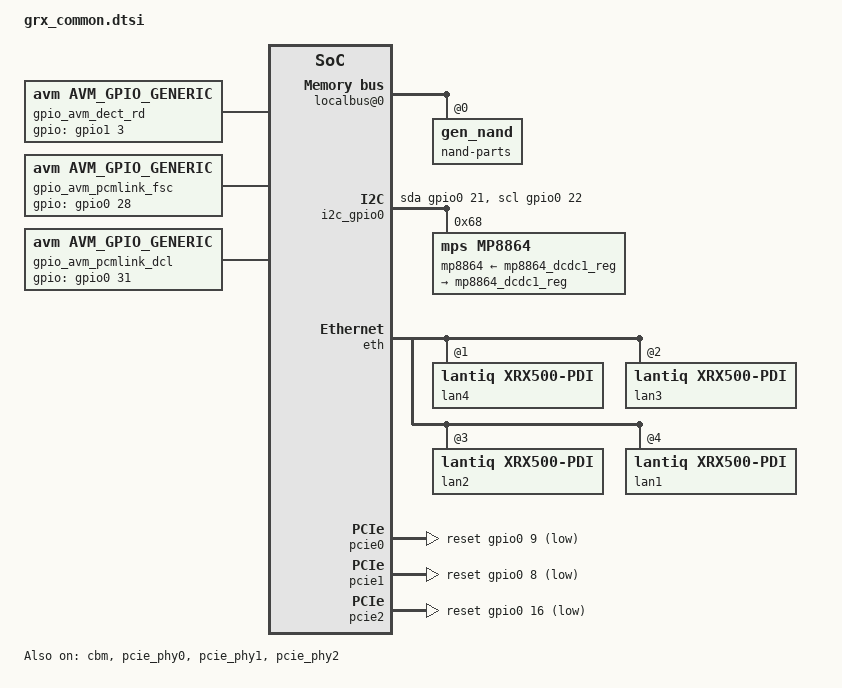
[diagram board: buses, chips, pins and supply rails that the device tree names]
/*****************************************************************
** Include a chip configuration file
*****************************************************************/
#include "../xrx500.dtsi"

#include "include/dt-bindings/gpio/gpio.h"
#include "../../../../include/linux/avm_hw_config_def.h"  /* DTC_EXTRA_INCLUDE_PATH not working */

/ {
	aliases {
		lan1 = &lan1;
		lan2 = &lan2;
		lan3 = &lan3;
		lan4 = &lan4;
	};

	reserved-memory {
		#address-cells = <1>;
		#size-cells = <1>;
		ranges;

		cpunet_mempool: cpunet-mempool@2dfc0000 {
			reg = <0x2dfc0000 0x00040000>;
		};

		ramoops@20500000 {
			compatible = "ramoops";
			reg = <0x20100000 0x00400000>;
			record-size = <0x80000>;
			unbuffered;
			no-dump-oops;
		};
	};


	ssx0@1E000000 {
		cpunet {
			compatible = "avm,cpunet";
			reg = <0x1107400 0x400>;
			mailbox-rx = <&mps2mbx 0x0 0x100>;
			mailbox-tx = <&mps2mbx 0x100 0x100>;
			mempool-rx = <&cpunet_mempool 0x0 0x20000>;
			mempool-tx = <&cpunet_mempool 0x20000 0x20000>;
			interrupt-parent = <&gic>;
			// MPS2_IR0
			interrupts = <GIC_SHARED 215 IRQ_TYPE_LEVEL_HIGH>;
		};

		eip123@0 {
			compatible = "verimatrix,eip123";
			reg = <0x0 0xfffff>;
			intel,syscon = <&sysconf>;
			interrupts =
				<GIC_SHARED 114 IRQ_TYPE_EDGE_RISING>,
				<GIC_SHARED 115 IRQ_TYPE_EDGE_RISING>,
				<GIC_SHARED 116 IRQ_TYPE_EDGE_RISING>,
				<GIC_SHARED 117 IRQ_TYPE_EDGE_RISING>;
		};

		eip97@100000 {
			compatible = "lantiq,crypto-xrx500";
			reg = <0x100000 0x100000>;
			interrupt-parent = <&gic>;
			interrupts = <GIC_SHARED 90 IRQ_TYPE_LEVEL_HIGH>,
				<GIC_SHARED 91 IRQ_TYPE_LEVEL_HIGH>,
				<GIC_SHARED 92 IRQ_TYPE_LEVEL_HIGH>,
				<GIC_SHARED 93 IRQ_TYPE_LEVEL_HIGH>,
				<GIC_SHARED 89 IRQ_TYPE_LEVEL_HIGH>;
			clocks = <&clkgate1 GATE_EIP97_CLK>;
			clock-names = "cryp";
		};
	};

	ssx4@16000000 {
		localbus@0 {
			ranges = <0 0 0x1c00000 0xfffff>;
			nand-parts {
				compatible = "gen_nand","lantiq,nand-xway";
				lantiq,cs = <1>;
				bank-width = <2>;
				reg = <0 0x0 0x100000>;
				#address-cells = <1>;
				#size-cells = <1>;
				nand-ecc-mode = "on-die";

				/* Do NOT remove or rename the node nand-parts. The bootload will search this node and enter the mtd information */
				/*
				mtd_dummy {
				label = "mtd_dummy";
				reg = <0x0 0x1000>;
				};
				 */
			};
		};
	};
};

/*
&pinctrl_nand {
	status = "ok";
};
*/

/******************************************************************************
** Board configuration: Configure LAN/WAN interfaces
******************************************************************************/
&eth {
	status = "ok";

	lan4: interface@1 {
		compatible = "lantiq,xrx500-pdi";
		#address-cells = <1>;
		#size-cells = <0>;
		reg = <1>;
		intel,dp-dev-port = <2>;
		intel,dp-port-id = <2>;

		avm,name = "eth3";
		avm,macname = "maca";
		avm,eee-adv = <0x28>; /* (ADVERTISED_100baseT_Full|ADVERTISED_1000baseT_Full) */

		ethernet@1 {
			compatible = "lantiq,xrx500-pdi-port";
			reg = <2>;
			interrupt-parent = <&gic>;
			interrupts = <GIC_SHARED 112 IRQ_TYPE_LEVEL_HIGH>;
			phy-mode = "rgmii";
			phy-handle = <&phy2>;
		};
	};

	lan3: interface@2 {
		compatible = "lantiq,xrx500-pdi";
		#address-cells = <1>;
		#size-cells = <0>;
		reg = <2>;
		intel,dp-dev-port = <3>;
		intel,dp-port-id = <3>;

		avm,name = "eth2";
		avm,macname = "maca";
		avm,eee-adv = <0x28>; /* (ADVERTISED_100baseT_Full|ADVERTISED_1000baseT_Full) */

		ethernet@2 {
			compatible = "lantiq,xrx500-pdi-port";
			reg = <3>;
			interrupt-parent = <&gic>;
			interrupts = <GIC_SHARED 113 IRQ_TYPE_LEVEL_HIGH>;
			phy-mode = "rgmii";
			phy-handle = <&phy3>;
		};
	};

	lan2: interface@3 {
		compatible = "lantiq,xrx500-pdi";
		#address-cells = <1>;
		#size-cells = <0>;
		reg = <3>;
		intel,dp-dev-port = <4>;
		intel,dp-port-id = <4>;

		avm,name = "eth1";
		avm,macname = "maca";
		avm,eee-adv = <0x28>; /* (ADVERTISED_100baseT_Full|ADVERTISED_1000baseT_Full) */

		ethernet@3 {
			compatible = "lantiq,xrx500-pdi-port";
			reg = <4>;
			interrupt-parent = <&gic>;
			interrupts = <GIC_SHARED 126 IRQ_TYPE_LEVEL_HIGH>;
			phy-mode = "rgmii";
			phy-handle = <&phy4>;
		};
	};

	lan1: interface@4 {
		compatible = "lantiq,xrx500-pdi";
		#address-cells = <1>;
		#size-cells = <0>;
		reg = <4>;
		intel,dp-dev-port = <5>;
		intel,dp-port-id = <5>;

		avm,name = "eth0";
		avm,macname = "maca";
		avm,eee-adv = <0x28>; /* (ADVERTISED_100baseT_Full|ADVERTISED_1000baseT_Full) */

		ethernet@4 {
			compatible = "lantiq,xrx500-pdi-port";
			reg = <5>;
			interrupt-parent = <&gic>;
			interrupts = <GIC_SHARED 127 IRQ_TYPE_LEVEL_HIGH>;
			phy-mode = "rgmii";
			phy-handle = <&phy5>;
		};
	};
};

/{
       avm_netdev_map: avm_netdev_map {
               compatible = "avm,port_netdev";
               lan1 {
                       netdev = "eth0";
               };
               lan2 {
                       netdev = "eth1";
               };
               lan3 {
                       netdev = "eth2";
               };
               lan4 {
                       netdev = "eth3";
               };
       };
};

/******************************************************************************
** Model configuration: CBM sub-system feature configuration, the cbm node is
** defined in Soc level.
** <Port> <Queue> <DMA_Ctrl> <DMA_chnl> <EN/DIS/TYPE> <number of desc>
** <DIS 0> <EN 1> <TYPE DP_F_DEQ_CPU 0x2> <TYPE DP_F_DEQ_CPU1 0x3>
** <TYPE DP_F_DEQ_MPE 0x4>
******************************************************************************/
&cbm {
	status = "ok";

	port1: ltq_dqm_ports {
		DQ0 {
			/* IRQ 186 "cbm_dqm4 */
			lantiq,cbm-config = <0 33 255 255 9 1>;
		};
		DQ1 {
			/* IRQ 187 "cbm_dqm5 */
			lantiq,cbm-config = <1 34 255 255 8 1>;
		};
		DQ2 {
			/* IRQ 188 "cbm_dqm6 */
			lantiq,cbm-config = <2 35 255 255 7 1>;
		};
		DQ3 {
			/* IRQ 189 "cbm_dqm7 */
			lantiq,cbm-config = <3 36 255 255 6 1>;
		};
		DQ4 {
			lantiq,cbm-config = <4 32 255 255 1 2>;
		};
		DQ5 {
			lantiq,cbm-config = <5 37 255 255 1 2>;
		};
		DQ6 {
			lantiq,cbm-config = <6 16 2 1 1 2>;
		};
		DQ7 {
			lantiq,cbm-config = <7 17 2 2 1 2>;
		};
		DQ8 {
			lantiq,cbm-config = <8 18 2 3 1 2>;
		};
		DQ9 {
			lantiq,cbm-config = <9 19 2 4 1 2>;
		};
		DQ10 {
			lantiq,cbm-config = <10 20 2 5 1 2>;
		};
		DQ11 {
			lantiq,cbm-config = <11 21 2 6 1 2>;
		};
		DQ12 {
			lantiq,cbm-config = <12 22 2 9 1 2>;
		};
		DQ13 {
			lantiq,cbm-config = <13 23 2 10 1 2>;
		};
		DQ14 {
			lantiq,cbm-config = <14 24 2 11 1 2>;
		};
		DQ15 {
			lantiq,cbm-config = <15 25 2 12 1 2>;
		};
		DQ16 {
			lantiq,cbm-config = <16 26 2 13 1 2>;
		};
		DQ17 {
			lantiq,cbm-config = <17 27 2 14 1 2>;
		};
		DQ18 {
			lantiq,cbm-config = <18 0 1 13 1 2>;
		};
		DQ19 {
			lantiq,cbm-config = <19 28 1 15 1 2>;
		};
		DQ20 {
			lantiq,cbm-config = <20 29 1 5 1 2>;
		};
		DQ21 {
			lantiq,cbm-config = <21 30 1 6 1 2>;
		};
		DQ22 {
			lantiq,cbm-config = <22 41 1 11 1 2>;
		};
		DQ23 {
			lantiq,cbm-config = <23 31 255 255 1 2>;
		};
	};
	/*<Port> <Queue> <DMA_Ctrl> <DMA_chnl> <EN/DIS/TYPE> <number of desc>*/
	/*<DIS 0>
	 <EN 1>
	 <TYPE DP_F_ENQ_CPU_0 0x2>
	 <TYPE DP_F_ENQ_CPU_1 0x3>
	 <TYPE DP_F_ENQ_CPU_2 0x4>
	 <TYPE DP_F_ENQ_CPU_3 0x5>
	 <TYPE DP_F_ENQ_WAVE  0x6>
	 <TYPE DP_F_ENQ_GSWIPL 0x7>
	 <TYPE DP_F_ENQ_PAE 0x8>
	 <TYPE DP_F_ENQ_TSO 0x9>
	 <TYPE DP_F_ENQ_VRX318 0xa>*/
	port2: ltq_eqm_ports {
		EQ1 {
			lantiq,cbm-config = <0 255 255 255 2 2>;
		};
		EQ2 {
			lantiq,cbm-config = <1 255 255 255 3 2>;
		};
		EQ3 {
			lantiq,cbm-config = <2 255 255 255 4 2>;
		};
		EQ4 {
			lantiq,cbm-config = <3 255 255 255 5 2>;
		};
		EQ5 {
			lantiq,cbm-config = <5 2 14 0 7 2>;
		};
		EQ5_1 {
			lantiq,cbm-config = <5 2 30 1 7 2>;
		};
		EQ6 {
			lantiq,cbm-config = <6 2 15 0 7 2>;
		};
		EQ6_1 {
			lantiq,cbm-config = <6 2 31 1 7 2>;
		};
		EQ7 {
			lantiq,cbm-config = <7 1 0 0 8 2>;
		};
		EQ7_1 {
			lantiq,cbm-config = <7 1 16 1 8 2>;
		};
		EQ8 {
			lantiq,cbm-config = <8 1 15 0 8 2>;
		};
		EQ8_1 {
			lantiq,cbm-config = <8 1 31 1 8 2>;
		};
		EQ9 {
			lantiq,cbm-config = <9 255 255 255 9 2>;
		};
		EQ15 {
			lantiq,cbm-config = <15 255 255 255 10 32>;
		};
	};
};
/******************************************************************************/

/ {
	i2c_gpio0: i2c {
		#address-cells = <1>;
		#size-cells = <0>;
		compatible = "i2c-gpio";
		gpios = <
			&gpio0 21 0 /* sda */
			&gpio0 22 0 /* scl */
			>;
		i2c-gpio,delay-us = <2>;	/* ~100 kHz */
		status = "ok";

		mp8864: mp8864@68 {
			status = "ok";
			compatible = "mps,mp8864";
			reg = <0x68>;
			voltage_index = <55>; /*  1,15 V */
			vout_enable = <1>; /* Enabled */
			vout_vboot = <0>; /* 1 = Regulator controlled by FB loop , 0 = I2C Loop */
			pfm_mode = <1>; /* PFM Disable */
			vout_slew_rate = <4>; /* 4 mV/us */
			vout_switching_freq = <2>;  /* 1,1 MHz */

			mp8864-supply = <&mp8864_dcdc1_reg>;

			regulators {
				mp8864_dcdc1_reg: core {
					regulator-name = "vdd-core";
					regulator-boot-on;
					regulator-always-on;
				};
			};
		};
	};
};

/******************************************************************************
** PCIe PHY board configuration
******************************************************************************/
&pcie_phy0 {
	status = "ok";
	intel,ssc_enable = <1>;
};

&pcie_phy1 {
	status = "ok";
	intel,ssc_enable = <1>;
};

&pcie_phy2 {
	status = "ok";
	intel,ssc_enable = <1>;
};

/******************************************************************************
** Board configuration: Enable PCIe board configuration.
** PCIE sub-system feature configuration, the pcie0/1/2 are defined in Soc level
******************************************************************************/
&pcie0 {
	status = "okay";
	intel,rst-interval = <100>;
	intel,inbound-swap = <1>;
	intel,outbound-swap = <0>;
	reset-gpio = <&gpio0 9 GPIO_ACTIVE_LOW>;
};

&pcie1 {
	status = "okay";
	intel,rst-interval = <100>;
	intel,inbound-swap = <1>;
	intel,outbound-swap = <0>;
	reset-gpio = <&gpio0 8 GPIO_ACTIVE_LOW>;
};

&pcie2 {
	status = "okay";
	intel,rst-interval = <100>;
	intel,inbound-swap = <1>;
	intel,outbound-swap = <0>;
	reset-gpio = <&gpio0 16 GPIO_ACTIVE_LOW>;
};


/ {
	aliases {
		timer2 = &gptc2;
	};

	ssx4@16000000 {
		gptc2: gptc@400000 {
			compatible = "intel,gptc", "lantiq,gptc";
			reg = <0x400000 0x400>;
			interrupt-parent = <&gic>;
			interrupts = <GIC_SHARED 166 IRQ_TYPE_EDGE_RISING>,
				<GIC_SHARED 168 IRQ_TYPE_EDGE_RISING>,
				<GIC_SHARED 170 IRQ_TYPE_EDGE_RISING>;
			interrupt-names = "tc1a", "tc2a", "tc3a";
			// timer 0: gptc_event3 (Linux on 4th core)
			// timer 1,2: unused
			intel,clk = <&clocksource 1 0 3>;
			clocks =<&pll0aclk SSX4_CLK>, <&clkgate1 GATE_GPTC2_CLK>;
			clock-names = "freq", "gptc";
		};

	};
};

/ {
	tdm {
		compatible = "avm,ltq_tdm";

		clocks = <&clkgate1 GATE_TDM_CLK>;
		interrupt-parent = <&gic>;
		interrupts = <GIC_SHARED 52 IRQ_TYPE_LEVEL_HIGH>,
			<GIC_SHARED 51 IRQ_TYPE_EDGE_RISING>;
	};

	yield {
		compatible = "avm,yield";

		interrupt-parent = <&gic>;
		interrupts = <GIC_SHARED 0 IRQ_TYPE_EDGE_RISING>,
			<GIC_SHARED 1 IRQ_TYPE_EDGE_RISING>,
			<GIC_SHARED 2 IRQ_TYPE_EDGE_RISING>,
			<GIC_SHARED 3 IRQ_TYPE_EDGE_RISING>;
	};

	irq_hack {
		compatible = "avm,irq_hack";

		interrupt-parent = <&gic>;
		interrupts = <GIC_SHARED 137 IRQ_TYPE_EDGE_RISING>,
			<GIC_SHARED 138 IRQ_TYPE_EDGE_RISING>,
			<GIC_SHARED 139 IRQ_TYPE_EDGE_RISING>,
			<GIC_SHARED 10 IRQ_TYPE_EDGE_RISING>,
			<GIC_SHARED 11 IRQ_TYPE_EDGE_RISING>,
			<GIC_SHARED 12 IRQ_TYPE_EDGE_RISING>;
			/* TODO: 156..158 belong to PCIe/VRX.
			 *       Add them here if free and needed.
			 */
	};

	bthelper0 {
		compatible = "avm,bthelper";
		interrupt-parent = <&gic>;
		interrupts = <GIC_SHARED 20 IRQ_TYPE_EDGE_RISING>,
			<GIC_SHARED 21 IRQ_TYPE_EDGE_RISING>;
	};
};

/delete-node/ &i2c;

/delete-node/ &pinctrl_25MHz;
/delete-node/ &pinctrl_i2c0;
/delete-node/ &pinctrl_mdio_l;
/delete-node/ &pinctrl_mdio_r;
/delete-node/ &pinctrl_spi0;
/delete-node/ &pinctrl_spi1;
/delete-node/ &pinctrl_tdm;
/delete-node/ &pinctrl_usb0_default;
/delete-node/ &pinctrl_usb0_idle;
/delete-node/ &pinctrl_usb1_default;
/delete-node/ &pinctrl_usb1_idle;
/delete-node/ &pinctrl_vcodec;
/delete-node/ &pinctrl_vcodec_clk;
/delete-node/ &pinctrl_vcodec_ssi_rx;

&gswr {
	/delete-property/ pinctrl-names;
	/delete-property/ pinctrl-0;
};
&usb0_phy {
	/delete-property/ pinctrl-names;
	/delete-property/ pinctrl-0;
	/delete-property/ pinctrl-1;
};
&usb1_phy {
	/delete-property/ pinctrl-names;
	/delete-property/ pinctrl-0;
	/delete-property/ pinctrl-1;
};

/ {
	ssx0@1E000000 {
		/delete-node/ mps@1107000;
		/delete-node/ mpsmbx@1200000;
		/delete-node/ mps2@1107400;
	};
};

/ {
	avm_gpio: avm-gpio {
		compatible = "simple-bus";

		gpio_avm_dect_rd {
			compatible = "avm,avm_gpio_generic";
			gpio = <&gpio1 3 GPIO_ACTIVE_HIGH>;
			avm,output;
			pinctrl-names = "default";
			pinctrl-0 = <&pinctrl_dect_rd>;
		};
		gpio_avm_pcmlink_fsc {
			compatible = "avm,avm_gpio_generic";
			gpio = <&gpio0 28 GPIO_ACTIVE_HIGH>;
			avm,output;
			pinctrl-names = "mux3";
			pinctrl-0 = <&pinctrl_tdm_fsc>;
		};
		gpio_avm_pcmlink_dcl {
			compatible = "avm,avm_gpio_generic";
			gpio = <&gpio0 31 GPIO_ACTIVE_HIGH>;
			avm,output;
			pinctrl-names = "mux3";
			pinctrl-0 = <&pinctrl_tdm_dcl>;
		};
	};
};

&pinctrl {
	pinctrl_clkout1: clkout1 {
		intel,pins = <7>;
		intel,function = "clkout1";
		intel,mux = <EQBR_MUX_1>;
		intel,groups = "clkout1";
	};

	pinctrl_dect_rd: dect_rd {
		intel,pins = <35>;
		intel,function = "dectrd";
		intel,mux = <EQBR_MUX_0>;
		intel,groups = "dectrd";
		intel,pullup = <1>;
	};

	pinctrl_tdm_di: tdm_di {
		intel,pins = <30>;
		intel,function = "tdmdi";
		intel,mux = <EQBR_MUX_3>;
		intel,groups = "tdmdi";
		intel,pullup = <1>;
	};

	pinctrl_tdm_fsc: tdm_fsc {
		intel,pins = <28>;
		intel,function = "tdmfsc";
		intel,mux = <EQBR_MUX_3>;
		intel,groups = "tdmfsc";
		intel,pullup = <1>;
	};

	pinctrl_tdm_fscgpio: tdm_fscgpio {
		intel,pins = <28>;
		intel,function = "tdmfsc";
		intel,mux = <EQBR_MUX_0>;
		intel,groups = "tdmfsc";
		intel,pullup = <1>;
	};

	pinctrl_tdm_dcl: tdm_dcl {
		intel,pins = <31>;
		intel,function = "tdmdcl";
		intel,mux = <EQBR_MUX_3>;
		intel,groups = "tdmdcl";
		intel,pullup = <1>;
	};

	pinctrl_tdm_dclgpio: tdm_dclgpio {
		intel,pins = <31>;
		intel,function = "tdmdcl";
		intel,mux = <EQBR_MUX_0>;
		intel,groups = "tdmdcl";
		intel,pullup = <1>;
	};

	pinctrl_tdm_do: tdm_do {
		intel,pins =  <29>;
		intel,function = "tdmdo";
		intel,mux = <EQBR_MUX_3>;
		intel,groups = "tdmdo";
		intel,pullup = <1>;
		intel,output = <1>;
		intel,drive-current = <3>;
	};
};

&cpu_crit {
	temperature = <120000>; /* millicelsius */
};

&cpu_thermal {
	trips {
		cpu_alert1: cpu-alert1 {
			temperature = <110000>; /* millicelsius */
			hysteresis = <5000>; /* millicelsius */
			type = "passive";
		};
	};

	cooling-maps {
		map0 {
			cooling-device = <&cpu0 2 THERMAL_NO_LIMIT>;
		};

		map1 {
			trip = <&cpu_alert1>;
			cooling-device = <&cpu0 1 THERMAL_NO_LIMIT>;
		};
	};
};
